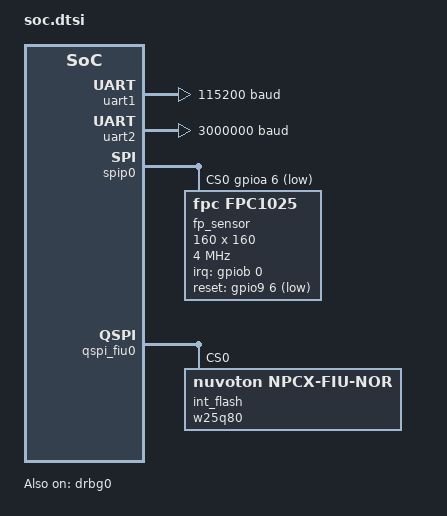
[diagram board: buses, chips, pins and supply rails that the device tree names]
/* Copyright 2025 The ChromiumOS Authors.
 * Use of this source code is governed by a BSD-style license that can be
 * found in the LICENSE file.
 */

#include <cros/nuvoton/npcx9_cros.dtsi>
#include <nuvoton/npcx/npcx9/npcx9-pinctrl.dtsi>

/* DRBG: Deterministic Random Bit Generator */
&drbg0 {
	status = "okay";
};

/* Update program memory size */
&flash0 {
    reg = <0x10058000 DT_SIZE_K(320)>;
};

/* Update data memory size */
&sram0 {
    reg = <0x200AC000 DT_SIZE_K(172)>;
};

/* UART1: Servo UART (console) */
&uart1 {
      /* Use UART1_SL2 ie. PIN64.65 */
       pinctrl-0 = <&uart1_2_sin_gp64
                    &uart1_2_sout_gp65>;
       pinctrl-names = "default";
       current-speed = <115200>;
};

/* UART2: AP UART (Host Commands and MKBP) */
&uart2 {
       pinctrl-0 = <&uart2_sin_gp75
                        &uart2_sout_gp86>;
       pinctrl-names = "default";
       current-speed = <3000000>;
};

/*
 * SPI0: communication with the fingerprint sensor
 */
&spip0 {
	pinctrl-0 = <&spip_sclk_mosi_miso_gp95_gpa1_gpa3_gpa5_sl
		     &spip_sclk_mosi_miso_gp95_gpa1_gpa3_gpa5_no_spip_inv>;
	pinctrl-names = "default";
	cs-gpios = <&gpioa 6 GPIO_ACTIVE_LOW>;
	status = "okay";

	fp_sensor: fpc1025@0 {
		compatible = "fpc,fpc1025";
		reg = <0>;
		spi-max-frequency = <4000000>;

		width = <160>;
		height = <160>;
		bits-per-pixel = <8>;
		v4l2-pixel-format = "V4L2_PIX_FMT_GREY";

		irq-gpios = <&gpiob 0 GPIO_ACTIVE_HIGH>;
		reset-gpios = <&gpio9 6 GPIO_ACTIVE_LOW>;
	};
};

&qspi_fiu0 {
	int_flash: w25q80@0 {
		compatible ="nuvoton,npcx-fiu-nor";
		size = <DT_SIZE_M(1 * 8)>;
		reg = <0>;
		status = "okay";

		/* quad spi bus configuration of nor flash device */
		qspi-flags = <NPCX_QSPI_SW_CS1>;
		mapped-addr = <0x64000000>;
		pinctrl-0 = <&int_flash_sl>;
		pinctrl-names = "default";
	};
	partitions {
		compatible = "fixed-partitions";
		#address-cells = <1>;
		#size-cells = <1>;

		/* First rollback section */
		rollback0: partition@20000 {
			label = "rollback0";
			reg = <0x20000 DT_SIZE_K(64)>;
		};

		/* Second rollback section */
		rollback1: partition@30000 {
			label = "rollback1";
			reg = <0x30000 DT_SIZE_K(64)>;
		};
	};
};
